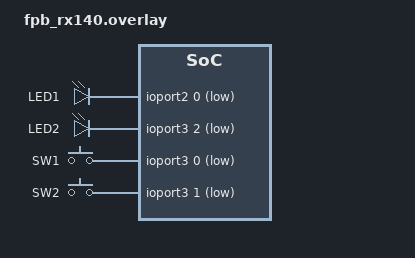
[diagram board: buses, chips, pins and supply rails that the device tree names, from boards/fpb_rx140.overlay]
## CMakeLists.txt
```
# SPDX-License-Identifier: Apache-2.0

cmake_minimum_required(VERSION 3.20.0)
find_package(Zephyr REQUIRED HINTS $ENV{ZEPHYR_BASE})
project(multithreaded_buttons_LEDs)

target_sources(app PRIVATE src/main.c)
```

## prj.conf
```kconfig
CONFIG_GPIO=y
# Detect stack overflows at runtime
CONFIG_STACK_SENTINEL=y
```

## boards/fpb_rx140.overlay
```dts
/*
 * Copyright (c) 2025 Renesas Electronics Corporation
 *
 * SPDX-License-Identifier: Apache-2.0
 */

/*
 * FPB-RX140 board overlay for multithreaded_buttons_LEDs application.
 *
 * User-controllable GPIO peripherals on FPB-RX140:
 *   LED1 (green) : P20  - ioport2, pin 0, active-low
 *   LED2 (green) : P32  - ioport3, pin 2, active-low
 *   SW1 (user)   : P30  - ioport3, pin 0, active-low, pull-up  → IRQ0
 *
 * MTU1 is disabled here because the board DTS assigns P20 (LED1) to MTIOC1A
 * (PWM). Leaving it enabled causes MTU1 to reconfigure P20 away from GPIO.
 */

/ {
	leds {
		compatible = "gpio-leds";

		led1: led1 {
			gpios = <&ioport2 0 GPIO_ACTIVE_LOW>;
			label = "LED1";
		};

		led2: led2 {
			gpios = <&ioport3 2 GPIO_ACTIVE_LOW>;
			label = "LED2";
		};
	};

	buttons {
		compatible = "gpio-keys";

		sw1: button {
			label = "SW1";
			gpios = <&ioport3 0 (GPIO_PULL_UP | GPIO_ACTIVE_LOW)>;
			zephyr,code = <INPUT_KEY_0>;
		};

		sw2: button {
			label = "SW2";
			gpios = <&ioport3 1 (GPIO_PULL_UP | GPIO_ACTIVE_LOW)>;
			zephyr,code = <INPUT_KEY_1>;
		};
	};

	aliases {
		led1 = &led1;
		led2 = &led2;
		sw1 = &sw1;
	};
};

/* Disable MTU1 so its pinctrl does not reconfigure P20 (LED1) away from GPIO. */
&mtu1 {
	status = "disabled";
};
```

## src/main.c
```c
#include <zephyr/kernel.h>
#include <zephyr/drivers/gpio.h>

/* Increased from 512: GPIO driver + kernel frame on RX needs headroom. */
#define STACK_SIZE    1024
#define PRIORITY      5
#define FAST_BLINK_MS 250
#define SLOW_BLINK_MS 750
#define BTN_POLL_MS   20

static const struct gpio_dt_spec led1 = GPIO_DT_SPEC_GET(DT_ALIAS(led1), gpios);
static const struct gpio_dt_spec led2 = GPIO_DT_SPEC_GET(DT_ALIAS(led2), gpios);
static const struct gpio_dt_spec btn  = GPIO_DT_SPEC_GET(DT_ALIAS(sw1),  gpios);

/* Shared flag: toggled by ISR, read by threads. */
static volatile bool fast_mode;

/* Use a polling thread for S1 to avoid RX external IRQ routing pitfalls. */
static void button_thread(void *a, void *b, void *c)
{
	int prev_pressed = 0;

	for (;;) {
		int value = gpio_pin_get_dt(&btn);
		int pressed = (value == 0); /* active-low */

		if (pressed && !prev_pressed) {
			fast_mode = !fast_mode;
			printk("SW1 pressed - %s mode\n", fast_mode ? "fast" : "slow");
		}

		prev_pressed = pressed;
		k_msleep(BTN_POLL_MS);
	}
}

/* Thread 1: blink LED1 */
static void led1_thread(void *a, void *b, void *c)
{
	for (;;) {
		gpio_pin_toggle_dt(&led1);
		k_msleep(fast_mode ? FAST_BLINK_MS : SLOW_BLINK_MS);
	}
}

/* Thread 2: blink LED2 (opposite phase) */
static void led2_thread(void *a, void *b, void *c)
{
	for (;;) {
		gpio_pin_toggle_dt(&led2);
		k_msleep(fast_mode ? SLOW_BLINK_MS : FAST_BLINK_MS);
	}
}

K_THREAD_DEFINE(led1_tid, STACK_SIZE, led1_thread, NULL, NULL, NULL, PRIORITY, 0, 0);
K_THREAD_DEFINE(led2_tid, STACK_SIZE, led2_thread, NULL, NULL, NULL, PRIORITY, 0, 0);
K_THREAD_DEFINE(btn_tid, STACK_SIZE, button_thread, NULL, NULL, NULL, PRIORITY, 0, 0);

int main(void)
{
	int ret;

	printk("Booting multithreaded_buttons_LEDs\n");

	/* Configure LEDs — GPIO_OUTPUT_ACTIVE turns them ON immediately so
	 * a successful configure is visible even before threads start. */
	if (!gpio_is_ready_dt(&led1) || !gpio_is_ready_dt(&led2)) {
		printk("LED GPIO not ready\n");
		return -1;
	}
	ret = gpio_pin_configure_dt(&led1, GPIO_OUTPUT_ACTIVE);
	if (ret) { printk("LED1 configure failed: %d\n", ret); return ret; }
	ret = gpio_pin_configure_dt(&led2, GPIO_OUTPUT_ACTIVE);
	if (ret) { printk("LED2 configure failed: %d\n", ret); return ret; }

	/* Configure SW1 (P30) input. */
	if (!gpio_is_ready_dt(&btn)) {
		printk("Button GPIO not ready\n");
		return -1;
	}
	ret = gpio_pin_configure_dt(&btn, GPIO_INPUT);
	if (ret) { printk("Button configure failed: %d\n", ret); return ret; }

	printk("Ready - press SW1 to toggle blink speed\n");
	return 0;
}
```
